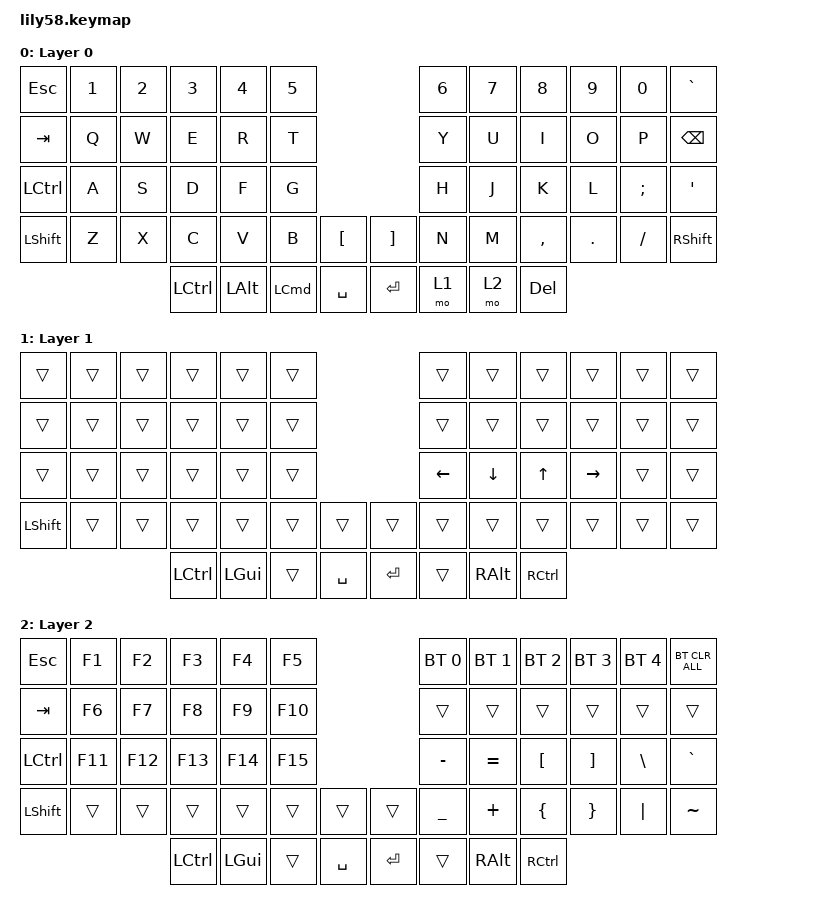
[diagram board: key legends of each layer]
/*
 * Copyright (c) 2020 The ZMK Contributors
 *
 * SPDX-License-Identifier: MIT
 */

#include <behaviors.dtsi>
#include <dt-bindings/zmk/bt.h>
#include <dt-bindings/zmk/keys.h>

/ {
    macros {
        rect_left_half: rect_left_half {
            compatible = "zmk,behavior-macro";
            #binding-cells = <0>;
            bindings = <&kp LEFT_CONTROL &kp LEFT_ALT &kp LEFT>;
            label = "RECT_LEFT_HALF";
        };

        rect_right_half: rect_right_half {
            compatible = "zmk,behavior-macro";
            #binding-cells = <0>;
            bindings = <&kp LEFT_CONTROL &kp LEFT_ALT &kp RIGHT>;
            label = "RECT_RIGHT_HALF";
        };

        rect_two_thirds: rect_right_third {
            compatible = "zmk,behavior-macro";
            #binding-cells = <0>;
            bindings = <&kp LEFT_CONTROL &kp LEFT_ALT &kp E>;
            label = "RECT_RIGHT_THIRD";
        };

        rect_third: rect_left_third {
            compatible = "zmk,behavior-macro";
            #binding-cells = <0>;
            bindings = <&kp LEFT_CONTROL &kp LEFT_ALT &kp D>;
            label = "RECT_LEFT_THIRD";
        };

        rect_three_quarters: new_macro {
            compatible = "zmk,behavior-macro";
            #binding-cells = <0>;
            bindings = <&kp LEFT_CONTROL &kp LEFT_ALT &kp E &kp LSHIFT>;
            label = "NEW_MACRO";
        };

        rect_quarter: rect_quarter {
            compatible = "zmk,behavior-macro";
            #binding-cells = <0>;
            bindings = <&kp LEFT_CONTROL &kp LEFT_ALT &kp D &kp LSHIFT>;
            label = "RECT_QUARTER";
        };
    };

    combos { compatible = "zmk,combos"; };

    keymap {
        compatible = "zmk,keymap";

        layer_0 {
            // ------------------------------------------------------------------------------------------------------------
            // |  ESC  |  1  |  2  |  3   |  4   |  5   |                   |  6   |  7    |  8    |  9   |   0   |   `   |
            // |  TAB  |  Q  |  W  |  E   |  R   |  T   |                   |  Y   |  U    |  I    |  O   |   P   |   -   |
            // |  CTRL |  A  |  S  |  D   |  F   |  G   |                   |  H   |  J    |  K    |  L   |   ;   |   '   |
            // | SHIFT |  Z  |  X  |  C   |  V   |  B   |   "["  |  |  "]"  |  N   |  M    |  ,    |  .   |   /   | SHIFT |
            //                     | ALT  | GUI  | LOWER|  SPACE |  | ENTER | RAISE| BSPC  | GUI   |

            display-name = "Layer 0";
            bindings = <
&kp ESCAPE        &kp N1  &kp N2  &kp N3            &kp N4        &kp N5                                    &kp N6  &kp N7  &kp N8     &kp N9   &kp N0         &kp GRAVE
&kp TAB           &kp Q   &kp W   &kp E             &kp R         &kp T                                     &kp Y   &kp U   &kp I      &kp O    &kp P          &kp BACKSPACE
&kp LEFT_CONTROL  &kp A   &kp S   &kp D             &kp F         &kp G                                     &kp H   &kp J   &kp K      &kp L    &kp SEMICOLON  &kp APOS
&kp LSHFT         &kp Z   &kp X   &kp C             &kp V         &kp B             &kp LBKT     &kp RBKT   &kp N   &kp M   &kp COMMA  &kp DOT  &kp FSLH       &kp RSHFT
                                  &kp LEFT_CONTROL  &kp LEFT_ALT  &kp LEFT_COMMAND  &kp SPACE    &kp ENTER  &mo 1   &mo 2   &kp DEL
            >;
        };

        layer_1 {
            bindings = <
&trans          &trans  &trans  &trans            &trans        &trans                          &trans    &trans         &trans             &trans     &trans  &trans
&trans          &trans  &trans  &trans            &trans        &trans                          &trans    &trans         &trans             &trans     &trans  &trans
&trans          &trans  &trans  &trans            &trans        &trans                          &kp LEFT  &kp DOWN       &kp UP             &kp RIGHT  &trans  &trans
&kp LEFT_SHIFT  &trans  &trans  &trans            &trans        &trans  &trans       &trans     &trans    &trans         &trans             &trans     &trans  &trans
                                &kp LEFT_CONTROL  &kp LEFT_GUI  &trans  &kp SPACE    &kp ENTER  &trans    &kp RIGHT_ALT  &kp RIGHT_CONTROL
            >;

            label = "Layer 1";
        };

        layer_2 {
            bindings = <
&kp ESCAPE        &kp F1   &kp F2   &kp F3            &kp F4        &kp F5                           &bt BT_SEL 0  &bt BT_SEL 1   &bt BT_SEL 2       &bt BT_SEL 3       &bt BT_SEL 4   &bt BT_CLR_ALL
&kp TAB           &kp F6   &kp F7   &kp F8            &kp F9        &kp F10                          &trans        &trans         &trans             &trans             &trans         &trans
&kp LEFT_CONTROL  &kp F11  &kp F12  &kp F13           &kp F14       &kp F15                          &kp MINUS     &kp EQUAL      &kp LEFT_BRACKET   &kp RIGHT_BRACKET  &kp BACKSLASH  &kp GRAVE
&kp LEFT_SHIFT    &trans   &trans   &trans            &trans        &trans   &trans       &trans     &kp UNDER     &kp PLUS       &kp LEFT_BRACE     &kp RIGHT_BRACE    &kp PIPE       &kp TILDE
                                    &kp LEFT_CONTROL  &kp LEFT_GUI  &trans   &kp SPACE    &kp ENTER  &trans        &kp RIGHT_ALT  &kp RIGHT_CONTROL
            >;

            label = "Layer 2";
        };
    };
};
